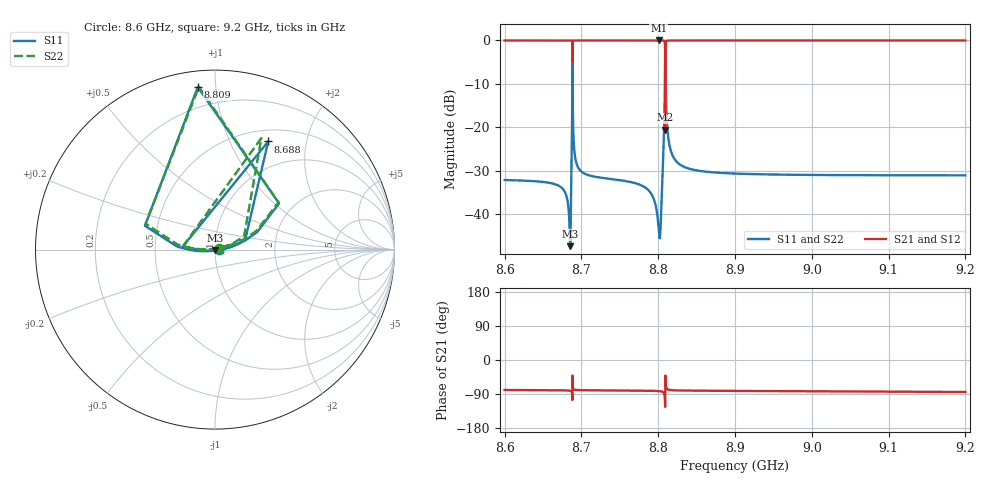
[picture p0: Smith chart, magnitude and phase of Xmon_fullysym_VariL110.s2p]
! Sonnet Data File
! From: emgraph Version : 16.52
! From Project: 171117_Xmon_fullysym
! Data is De-embedded
! Data File Written: 11/26/2017 21:44:47
!< HDATE 11/26/2017 17:24:49
!< MDATE 11/26/2017 17:24:49
!< PARAMS
!< Lj = 11.0
!< Gap = 1.0
!< Pwid = 2000.0
!< Airgap = 6.0
!< Width = 10.0
!< Lj1 = 11.0
!< END PARAMS
# GHZ S MA R 50.90000
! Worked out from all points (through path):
!   3001 points, 8.6 GHz to 9.2 GHz, reference 50.9 ohm
!   highest |S21| = 0.00 dB at 8.801 GHz (marker M1); lowest = -20.5 dB at 8.809 GHz (marker M2)
!   lowest |S11| = -47.4 dB at 8.685 GHz (marker M3), VSWR 1.01, Z = 51 - j0.429 ohm
!   |S11| at or under -10 dB: start of sweep to 8.688 GHz; 8.689 GHz to 8.809 GHz (120.1 MHz wide, 1.37 % of centre); 8.81 GHz to end of sweep
!   |S22| runs from -46.8 to -0.8 dB; largest |S21 - S12| = 1.9e-10
!   S11 on the Smith chart (normalised r, x): 8.6 GHz: 1.05, -0.00; 8.688 GHz: 0.64, +1.40; 8.809 GHz: 0.08, +0.90; 9.2 GHz: 1.06, -0.01
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8.6  0.0247 -0.7  0.9997 -79.1  0.9997 -79.1  0.0247 22.6
!< P1 F=8.6 Eeff=(6.44845572 -2.9799e-5) Z0=(50.9087207 1.17006e-4) R=0.0 C=0.0
!< P2 F=8.6 Eeff=(6.44845572 -2.9799e-5) Z0=(50.9087207 1.17006e-4) R=0.0 C=0.0
8.6702  0.02128 -3.4  0.9998 -79.9  0.9998 -79.9  0.02128 23.6
8.6834  0.01103 -15.6  0.9999 -80.7  0.9999 -80.7  0.01108 34.8
8.6854  0.004273 -79.7  0.9998 -81.2  0.9998 -81.2  0.004582 97.4
8.6884  0.6714 63.8  0.5707 -41.2  0.5707 -41.2  0.6729 67.4
8.6904  0.05942 6.5  0.9979 -77.9  0.9979 -77.9  0.05947 18.3
8.6936  0.03839 2.7  0.9992 -79.1  0.9992 -79.1  0.0384 19.2
8.7  0.0309 0.5  0.9995 -79.6  0.9995 -79.6  0.0309 20.3
8.7828  0.02032 -6.0  0.9998 -81.0  0.9998 -81.0  0.02033 24.0
8.7938  0.01528 -11.6  0.9999 -81.4  0.9999 -81.4  0.01529 28.8
8.8002  0.007536 -36.3  0.9999 -82.0  0.9999 -82.0  0.007603 52.9
8.8006  0.006856 -42.3  0.9999 -82.1  0.9999 -82.1  0.006935 58.7
8.8038  0.01038 -142.5  0.9998 -82.9  0.9998 -82.9  0.01051 155.6
8.8072  0.06996 -172.6  0.9966 -86.4  0.9966 -86.4  0.0701 178.3
8.8092  0.9103 96.1  0.09387 -65.1  0.09387 -65.1  0.9113 95.7
8.8112  0.1221 12.7  0.9916 -75.4  0.9916 -75.4  0.1222 17.3
8.8162  0.05452 5.3  0.9984 -79.3  0.9984 -79.3  0.05454 16.2
8.8262  0.03846 1.9  0.9992 -80.4  0.9992 -80.4  0.03847 17.5
8.9002  0.0293 -2.0  0.9996 -81.6  0.9996 -81.6  0.0293 18.9
9.0002  0.02825 -3.6  0.9996 -82.6  0.9996 -82.6  0.02825 18.5
9.1  0.028 -4.9  0.9996 -83.5  0.9996 -83.5  0.028 17.9
9.2  0.02795 -6.0  0.9996 -84.4  0.9996 -84.4  0.02795 17.2
